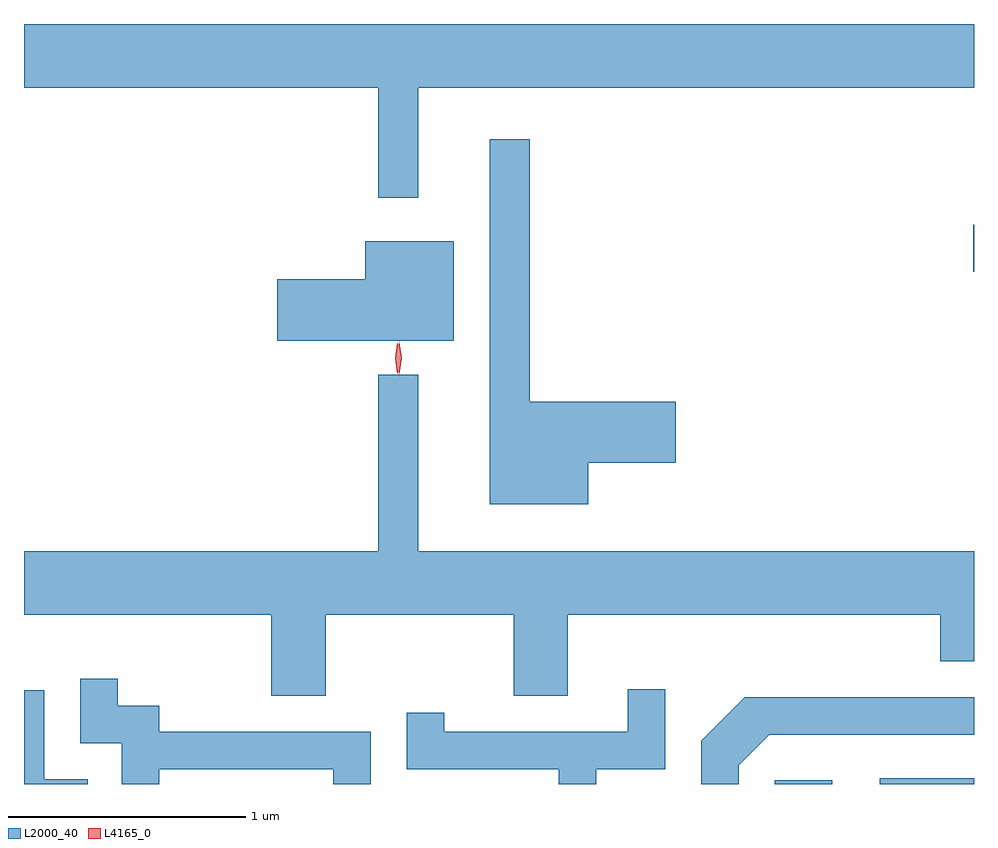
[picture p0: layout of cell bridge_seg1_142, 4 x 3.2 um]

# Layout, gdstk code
import gdstk
lib = gdstk.Library(unit=1e-6, precision=1e-09)
def R(c, l, rs):  # rectangles x0, y0, x1, y1
    for r in rs: c.add(gdstk.rectangle(r[:2], r[2:], *l))
def P(c, l, *ps):  # polygons
    for p in ps: c.add(gdstk.Polygon(p, *l))
L2000_40 = (2000, 40)
L4165_0 = (4165, 0)

bridge_seg1_142 = lib.new_cell('bridge_seg1_142')
R(bridge_seg1_142, L2000_40, [(965.161,936.604,965.403,936.619), (965.603,936.604,965.999,936.629), (965.996,938.761,965.999,938.959)])
P(bridge_seg1_142, L2000_40, [(963.659,939.536),(965.999,939.536),(965.999,939.804),(961.999,939.804),(961.999,939.536),(963.491,939.536),(963.491,939.073),(963.659,939.073)],
  [(964.374,937.956),(964.744,937.956),(964.744,938.214),(964.129,938.214),(964.129,939.318),(963.961,939.318),(963.961,937.781),(964.374,937.781)],
  [(963.809,938.889),(963.436,938.889),(963.436,938.729),(963.066,938.729),(963.066,938.471),(963.809,938.471)],
  [(963.269,937.316),(964.061,937.316),(964.061,936.976),(964.289,936.976),(964.289,937.316),(965.856,937.316),(965.856,937.121),(965.999,937.121),(965.999,937.584),(963.659,937.584),(963.659,938.328),(963.491,938.328),(963.491,937.584),(961.999,937.584),(961.999,937.316),(963.041,937.316),(963.041,936.976),(963.269,936.976)],
  [(962.569,936.666),(963.301,936.666),(963.301,936.604),(963.459,936.604),(963.459,936.824),(962.569,936.824),(962.569,936.934),(962.394,936.934),(962.394,937.048),(962.236,937.048),(962.236,936.776),(962.411,936.776),(962.411,936.604),(962.569,936.604)],
  [(964.409,936.666),(964.699,936.666),(964.699,937.003),(964.541,937.003),(964.541,936.824),(963.769,936.824),(963.769,936.903),(963.611,936.903),(963.611,936.666),(964.251,936.666),(964.251,936.604),(964.409,936.604)],
  [(962.268,936.624),(962.084,936.624),(962.084,936.999),(961.999,936.999),(961.999,936.604),(962.268,936.604)],
  [(965.009,936.684),(965.137,936.811),(965.999,936.811),(965.999,936.969),(965.034,936.969),(964.851,936.787),(964.851,936.604),(965.009,936.604)])
P(bridge_seg1_142, L4165_0, [(963.578,938.33),(963.578,938.33),(963.569,938.398),(963.58,938.465),(963.58,938.466),(963.58,938.465),(963.589,938.398),(963.579,938.33)],
  [(963.572,938.333),(963.571,938.334),(963.562,938.396),(963.571,938.459),(963.572,938.46),(963.572,938.459),(963.582,938.396),(963.572,938.334)])

lib.write_gds('bridge_seg1_142.gds')
